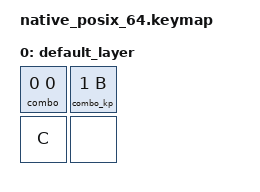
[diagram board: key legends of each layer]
#include <dt-bindings/zmk/keys.h>
#include <behaviors.dtsi>
#include <dt-bindings/zmk/kscan_mock.h>

&mt {
    flavor = "hold-preferred";
};

/* this test checks if hold-taps can be part of a combo */
/ {
    combos {
        compatible = "zmk,combos";
        combo_two {
            timeout-ms = <100>;
            triggers = <0 1>;
            bindings = <&kp Y>;
        };
    };

    behaviors {
        arr: behavior_array {
            compatible = "zmk,behavior-array";
            #binding-cells = <1>;
            bindings = <&mt LEFT_CONTROL A>;
        };
        combo: combo_trigger_with_array {
            compatible = "zmk,behavior-combo-trigger";
            #binding-cells = <2>;
            display-name = "Combo or Mod Tap";
            fallback-behavior = <&arr>;
        };
    };

    keymap {
        compatible = "zmk,keymap";

        default_layer {
            bindings = <
                &combo 0 0 &combo_kp 1 B
                &kp C &none
            >;
        };
    };
};

&kscan {
    events = <
        ZMK_MOCK_PRESS(0,0,10)
        ZMK_MOCK_PRESS(0,1,10)
        ZMK_MOCK_PRESS(0,2,10)
        ZMK_MOCK_RELEASE(0,0,10)
        ZMK_MOCK_RELEASE(0,1,10)
        ZMK_MOCK_RELEASE(0,2,10)
    >;
};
